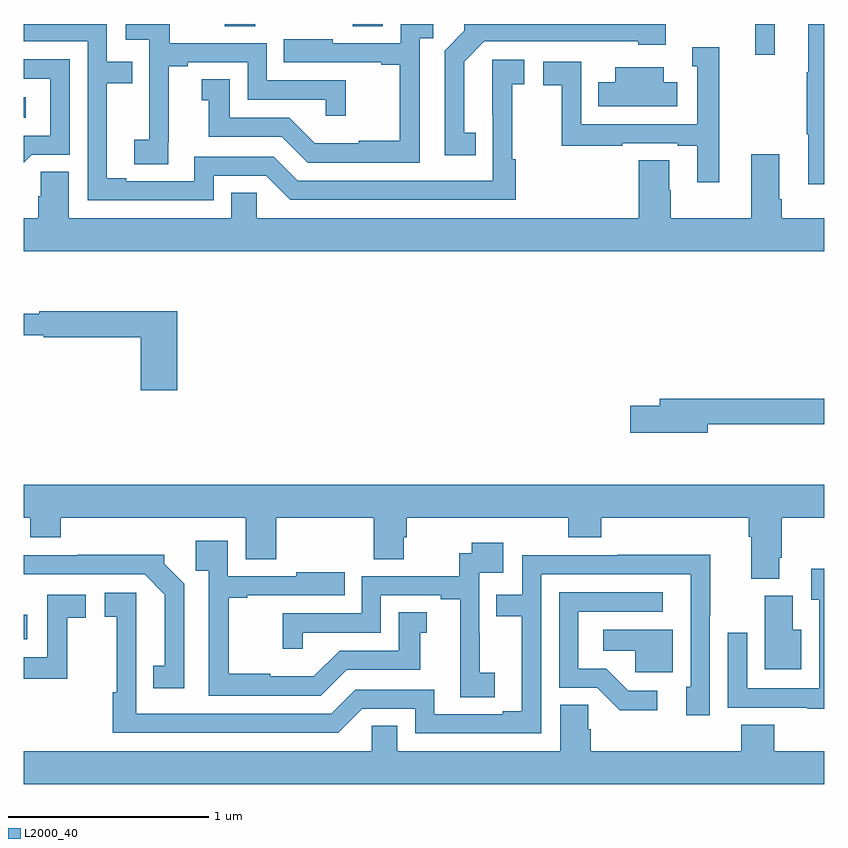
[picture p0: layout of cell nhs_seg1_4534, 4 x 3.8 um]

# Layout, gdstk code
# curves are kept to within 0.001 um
import gdstk
lib = gdstk.Library(unit=1e-6, precision=1e-09)
def R(c, l, rs):  # rectangles x0, y0, x1, y1
    for r in rs: c.add(gdstk.rectangle(r[:2], r[2:], *l))
def P(c, l, *ps):  # polygons
    for p in ps: c.add(gdstk.Polygon(p, *l))
L2000_40 = (2000, 40)

nhs_seg1_4534 = lib.new_cell('nhs_seg1_4534')
R(nhs_seg1_4534, L2000_40, [(357,551.123,357.016,551.245), (357,553.73,357.01,553.834), (360.657,554.046,360.754,554.199), (358.004,554.188,358.157,554.199), (358.643,554.188,358.795,554.199)])
P(nhs_seg1_4534, L2000_40, [(357.948,553.44),(358.212,553.44),(358.332,553.32),(359.459,553.32),(359.459,553.523),(359.442,553.523),(359.442,553.899),(359.5,553.899),(359.5,554.02),(359.342,554.02),(359.343,553.416),(358.368,553.416),(358.248,553.536),(357.852,553.536),(357.852,553.413),(357.511,553.413),(357.511,553.428),(357.415,553.428),(357.415,553.902),(357.542,553.902),(357.542,554.01),(357.414,554.01),(357.414,554.199),(357,554.199),(357,554.112),(357.318,554.112),(357.318,553.317),(357.948,553.317)],
  [(361,554.199),(360.92,554.199),(360.92,553.958),(360.913,553.958),(360.913,553.647),(360.92,553.647),(360.92,553.398),(361,553.398)],
  [(358.98,554.129),(359.045,554.129),(359.045,554.199),(358.884,554.199),(358.884,554.103),(358.543,554.103),(358.543,554.122),(358.3,554.122),(358.3,554.007),(358.787,554.007),(358.787,553.995),(358.879,553.995),(358.879,553.615),(358.673,553.615),(358.673,553.603),(358.454,553.603),(358.326,553.731),(358.03,553.731),(358.03,553.922),(357.89,553.922),(357.89,553.819),(357.923,553.819),(357.923,553.635),(358.29,553.635),(358.419,553.506),(358.98,553.506)],
  [(359.258,553.655),(359.2,553.655),(359.2,554.011),(359.301,554.112),(360.072,554.112),(360.072,554.096),(360.208,554.096),(360.208,554.199),(359.202,554.199),(359.202,554.165),(359.103,554.066),(359.103,553.542),(359.258,553.542)],
  [(357.722,553.609),(357.724,553.609),(357.724,553.987),(357.82,553.987),(357.82,554.007),(358.119,554.007),(358.119,553.821),(358.509,553.821),(358.509,553.74),(358.61,553.74),(358.61,553.917),(358.215,553.917),(358.215,554.103),(357.728,554.103),(357.728,554.199),(357.51,554.199),(357.51,554.121),(357.627,554.121),(357.627,553.817),(357.626,553.817),(357.626,553.62),(357.552,553.62),(357.552,553.498),(357.722,553.498)],
  [(360.475,554.083),(360.341,554.083),(360.341,553.989),(360.366,553.989),(360.366,553.698),(359.787,553.698),(359.787,554.01),(359.595,554.01),(359.595,553.894),(359.689,553.894),(359.689,553.59),(359.99,553.59),(359.99,553.602),(360.269,553.602),(360.269,553.59),(360.365,553.59),(360.365,553.407),(360.475,553.407)],
  [(357.039,553.545),(357.228,553.545),(357.228,554.022),(357,554.022),(357,553.926),(357.132,553.926),(357.132,553.641),(357,553.641),(357,553.506)],
  [(360.265,553.909),(360.199,553.909),(360.199,553.984),(359.957,553.984),(359.957,553.909),(359.872,553.909),(359.872,553.787),(360.265,553.787)],
  [(361,553.228),(360.788,553.228),(360.788,553.324),(360.775,553.324),(360.775,553.549),(360.635,553.549),(360.635,553.228),(360.234,553.228),(360.234,553.367),(360.226,553.367),(360.226,553.517),(360.074,553.517),(360.074,553.228),(358.164,553.228),(358.164,553.355),(358.037,553.355),(358.037,553.228),(357.223,553.228),(357.223,553.46),(357.084,553.46),(357.084,553.337),(357.071,553.337),(357.071,553.228),(357,553.228),(357,553.064),(361,553.064)],
  [(357.767,552.763),(357.076,552.763),(357.076,552.75),(357,552.75),(357,552.642),(357.1,552.642),(357.1,552.634),(357.584,552.634),(357.584,552.369),(357.767,552.369)],
  [(360.418,552.198),(361,552.198),(361,552.326),(360.179,552.326),(360.179,552.29),(360.03,552.29),(360.03,552.155),(360.418,552.155)],
  [(357,551.732),(357.032,551.732),(357.032,551.633),(357.185,551.633),(357.185,551.732),(358.109,551.732),(358.109,551.524),(358.262,551.524),(358.262,551.732),(358.748,551.732),(358.748,551.524),(358.9,551.524),(358.9,551.634),(358.913,551.634),(358.913,551.732),(359.72,551.732),(359.72,551.633),(359.885,551.633),(359.885,551.732),(360.623,551.732),(360.623,551.636),(360.635,551.636),(360.635,551.425),(360.775,551.425),(360.775,551.53),(360.788,551.53),(360.788,551.732),(361,551.732),(361,551.896),(357,551.896)],
  [(358.614,550.971),(358.981,550.971),(358.981,551.155),(359.014,551.155),(359.014,551.258),(358.874,551.258),(358.874,551.067),(358.578,551.067),(358.45,550.939),(358.232,550.939),(358.232,550.951),(358.025,550.951),(358.025,551.331),(358.117,551.331),(358.117,551.343),(358.604,551.343),(358.604,551.458),(358.361,551.458),(358.361,551.439),(358.02,551.439),(358.02,551.617),(357.859,551.617),(357.859,551.465),(357.924,551.465),(357.924,550.842),(358.485,550.842)],
  [(359.353,550.956),(359.279,550.956),(359.279,551.153),(359.277,551.153),(359.277,551.457),(359.395,551.457),(359.395,551.605),(359.239,551.605),(359.239,551.553),(359.176,551.553),(359.176,551.439),(358.689,551.439),(358.689,551.253),(358.294,551.253),(358.294,551.076),(358.395,551.076),(358.395,551.157),(358.785,551.157),(358.785,551.343),(359.084,551.343),(359.084,551.323),(359.18,551.323),(359.18,550.945),(359.182,550.945),(359.182,550.834),(359.353,550.834)],
  [(359.586,551.448),(360.333,551.448),(360.333,550.887),(360.311,550.887),(360.311,550.743),(360.429,550.743),(360.429,551.242),(360.431,551.242),(360.431,551.546),(359.968,551.546),(359.968,551.544),(359.49,551.544),(359.49,551.346),(359.362,551.346),(359.362,551.238),(359.489,551.238),(359.489,550.764),(359.393,550.764),(359.393,550.749),(359.052,550.749),(359.052,550.872),(358.656,550.872),(358.536,550.752),(357.561,550.752),(357.562,551.356),(357.405,551.356),(357.405,551.235),(357.463,551.235),(357.463,550.859),(357.445,550.859),(357.445,550.656),(358.572,550.656),(358.692,550.776),(358.956,550.776),(358.956,550.653),(359.586,550.653)],
  [(357.801,551.402),(357.702,551.501),(357.702,551.546),(357.268,551.546),(357.268,551.544),(357,551.544),(357,551.448),(357.603,551.448),(357.704,551.347),(357.704,550.991),(357.646,550.991),(357.646,550.878),(357.801,550.878)],
  [(361,551.476),(360.935,551.476),(360.935,551.32),(360.975,551.32),(360.975,550.878),(360.615,550.878),(360.615,551.155),(360.519,551.155),(360.519,550.782),(360.915,550.782),(360.915,550.775),(361,550.775)],
  [(360.166,550.866),(360.021,550.866),(359.91,550.977),(359.772,550.977),(359.772,551.262),(360.193,551.262),(360.193,551.358),(359.676,551.358),(359.676,550.881),(359.865,550.881),(359.978,550.769),(360.166,550.769)],
  [(357.216,551.23),(357.31,551.23),(357.31,551.346),(357.117,551.346),(357.117,551.034),(357,551.034),(357,550.926),(357.216,550.926)],
  [(360.886,551.17),(360.844,551.17),(360.844,551.34),(360.704,551.34),(360.704,550.973),(360.886,550.973)],
  [(360.244,551.17),(359.895,551.17),(359.895,551.066),(360.057,551.066),(360.057,550.959),(360.244,550.959)],
  [(361,550.564),(360.752,550.564),(360.752,550.697),(360.587,550.697),(360.587,550.564),(359.834,550.564),(359.834,550.673),(359.82,550.673),(359.82,550.796),(359.681,550.796),(359.681,550.564),(358.867,550.564),(358.867,550.691),(358.74,550.691),(358.74,550.564),(357,550.564),(357,550.4),(361,550.4)])

lib.write_gds('nhs_seg1_4534.gds')
